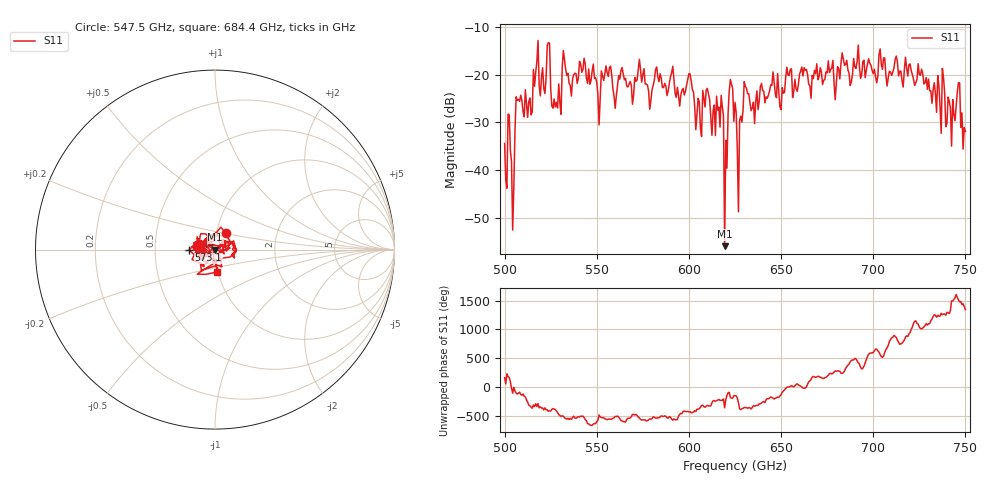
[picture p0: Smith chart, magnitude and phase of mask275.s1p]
!Created with skrf (http://scikit-rf.org).
# GHz S MA R 50.0
!freq magS11 angS11
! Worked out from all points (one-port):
!   401 points, 500 GHz to 750 GHz, reference 50 ohm
!   lowest |S11| = -55.9 dB at 619.4 GHz (marker M1), VSWR 1.00, Z = 50.2 - j0.00184 ohm
!   |S11| at or under -10 dB: start of sweep to end of sweep
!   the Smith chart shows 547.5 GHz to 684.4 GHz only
!   S11 on the Smith chart (normalised r, x): 547.5 GHz: 1.11, +0.20; 573.1 GHz: 0.75, -0.01; 684.4 GHz: 0.99, -0.25
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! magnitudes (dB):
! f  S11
! 500 GHz  -34.4
! 504.4 GHz  -52.5
! 507.5 GHz  -25.2
! 513.8 GHz  -24.9
! 516.9 GHz  -19.5
! 520.6 GHz  -18.6
! 523.8 GHz  -13.3
! 526.9 GHz  -25.1
! 531.2 GHz  -18.5
! 547.5 GHz  -19.2
! 562.5 GHz  -21.0
! 573.1 GHz  -16.8
! 593.8 GHz  -22.6
! 616.2 GHz  -26.8
! 619.4 GHz  -55.9
! 620.6 GHz  -39.6
! 622.5 GHz  -21.0
! 625 GHz  -25.8
! 627.5 GHz  -29.6
! 631.2 GHz  -22.9
! 634.4 GHz  -27.0
! 656.2 GHz  -24.8
! 684.4 GHz  -18.0
! 687.5 GHz  -22.3
! 718.8 GHz  -20.3
! 743.1 GHz  -25.2
! 746.2 GHz  -21.7
! 750 GHz  -31.9
